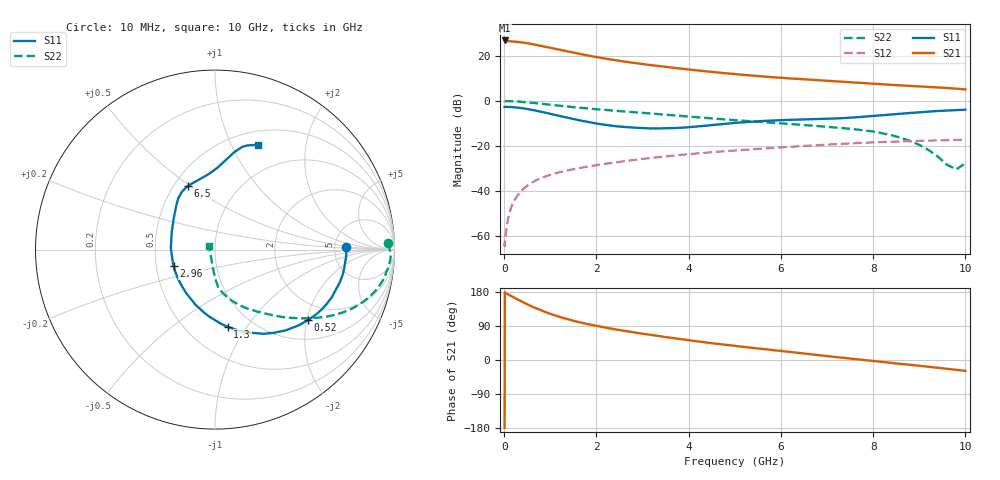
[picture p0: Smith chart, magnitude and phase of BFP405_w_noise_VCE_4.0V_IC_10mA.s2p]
! Infineon Technologies  Discrete & RF Semiconductors
! BFP405
! VCE =  4.0 V,  IC =  10 mA
! Common Emitter S-Parameters:  Jan 2016
# GHz  S  MA  R  50
!  f  S11  S21  S12  S22
! GHz  MAG  ANG  MAG  ANG  MAG  ANG  MAG  ANG
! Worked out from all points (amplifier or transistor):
!   233 points, 10 MHz to 10 GHz, reference 50 ohm
!   highest |S21| = 26.7 dB at 10 MHz (marker M1)
!   |S21| within 3 dB of that: start of sweep to 943.5 MHz
!   unconditionally stable (mu >= 1): start of sweep to 21.45 MHz; 2.687 GHz to end of sweep
!   at 200 MHz: K = 0.24, MSG = 35.6 dB, |S12| = -44.9 dB
!   at 1.74 GHz: K = 0.76, MSG = 24.9 dB, |S12| = -29.4 dB
!   at 10 GHz: K = 1.36, MAG = 7.6 dB, |S12| = -17.3 dB
!   lowest NFmin = 1.62 dB at 900 MHz
!   S11 on the Smith chart (normalised r, x): 10 MHz: 6.34, +0.34; 520 MHz: 1.50, -2.04; 1.3 GHz: 0.77, -0.82; 2.96 GHz: 0.62, -0.12; 6.5 GHz: 0.59, +0.49; 10 GHz: 0.65, +1.27
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0.01  0.7281 1.0  21.63 -178.9  0.0007 -10.2  0.9668 2.1
0.02  0.7314 -0.8  21.32 177.0  0.0008 71.6  0.9712 0.3
0.05  0.7316 -3.1  20.95 175.8  0.0014 71.1  0.9784 -0.9
0.24  0.7106 -17.6  20.4 163.2  0.0067 79.1  0.9627 -7.3
0.4  0.6826 -29.0  19.5 153.0  0.0107 75.1  0.942 -11.8
0.52  0.6502 -37.0  18.64 145.9  0.0135 72.6  0.9187 -14.9
0.7  0.5998 -48.4  17.23 135.9  0.0174 68.9  0.88 -19.0
0.86  0.5523 -57.7  15.96 128.0  0.0204 66.3  0.8447 -22.1
1.1  0.4857 -70.7  14.17 117.6  0.0245 63.1  0.7943 -26.1
1.3  0.4357 -80.6  12.8 110.2  0.0276 61.1  0.7557 -28.9
1.5  0.3921 -90.3  11.6 103.6  0.0304 59.6  0.7207 -31.2
1.68  0.3598 -98.8  10.68 98.3  0.0329 58.3  0.6927 -33.1
2.2  0.2913 -123.1  8.551 85.3  0.0401 55.5  0.6241 -37.8
2.96  0.2488 -158.0  6.568 70.1  0.0508 51.4  0.5428 -44.1
3.4  0.2436 -177.6  5.774 62.4  0.0571 48.6  0.4992 -47.6
4  0.2592 158.6  4.911 52.0  0.0655 44.7  0.4447 -52.7
5.1  0.3284 130.9  3.806 35.9  0.0805 36.7  0.3648 -62.5
6.5  0.3861 113.0  2.982 17.1  0.0996 26.8  0.2899 -73.3
6.8  0.3921 107.7  2.842 13.1  0.1037 24.3  0.2743 -75.4
8.4  0.497 83.6  2.244 -7.8  0.1237 10.2  0.1718 -88.5
9.8  0.619 70.2  1.848 -25.9  0.1351 -1.4  0.0301 -172.3
10  0.6323 67.6  1.783 -28.6  0.1365 -2.9  0.0411 148.8
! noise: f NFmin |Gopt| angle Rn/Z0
0.9  1.62  0.2  6  0.32
1.8  1.88  0.14  1  0.29
2.4  2  0.12  4  0.31
3  2.03  0.08  20  0.29
4  2.19  0.05  -72  0.28
5  2.56  0.11  -98  0.28
